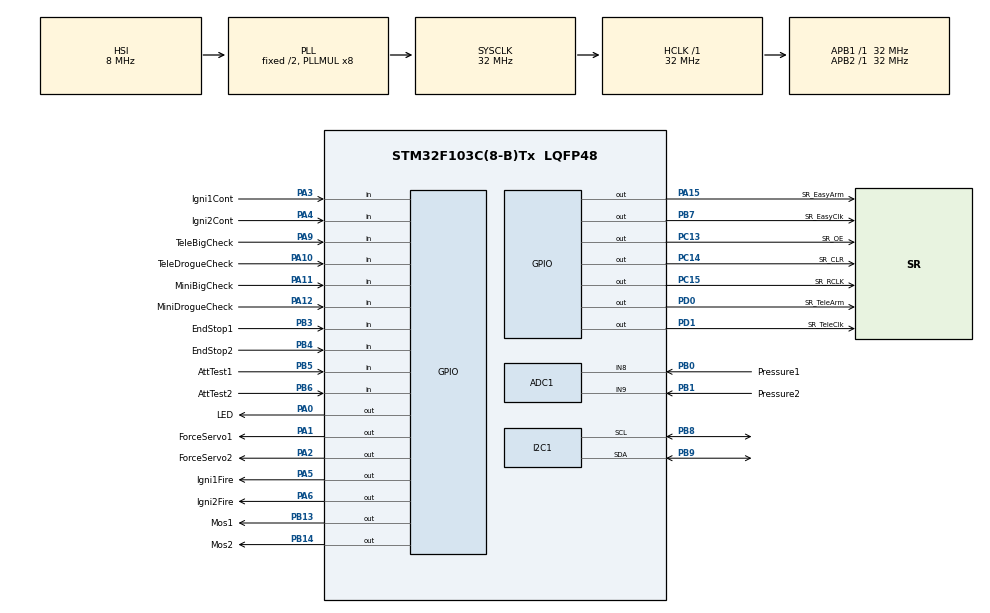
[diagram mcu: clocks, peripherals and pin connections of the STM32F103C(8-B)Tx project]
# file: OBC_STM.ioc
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ADC1.Channel-0\#ChannelRegularConversion=ADC_CHANNEL_8
ADC1.Channel-1\#ChannelRegularConversion=ADC_CHANNEL_9
ADC1.ContinuousConvMode=ENABLE
ADC1.NbrOfConversion=2
ADC1.NbrOfConversionFlag=1
ADC1.Rank-0\#ChannelRegularConversion=1
ADC1.Rank-1\#ChannelRegularConversion=2
ADC1.SamplingTime-0\#ChannelRegularConversion=ADC_SAMPLETIME_239CYCLES_5
ADC1.SamplingTime-1\#ChannelRegularConversion=ADC_SAMPLETIME_239CYCLES_5
ADC1.master=1
Dma.ADC1.0.Direction=DMA_PERIPH_TO_MEMORY
Dma.ADC1.0.Instance=DMA1_Channel1
Dma.ADC1.0.MemDataAlignment=DMA_MDATAALIGN_HALFWORD
Dma.ADC1.0.MemInc=DMA_MINC_ENABLE
Dma.ADC1.0.Mode=DMA_CIRCULAR
Dma.ADC1.0.PeriphDataAlignment=DMA_PDATAALIGN_HALFWORD
Dma.ADC1.0.PeriphInc=DMA_PINC_DISABLE
Dma.ADC1.0.Priority=DMA_PRIORITY_LOW
Dma.Request0=ADC1
I2C1.OwnAddress=48
IWDG.Reload=2500
Mcu.Family=STM32F1
Mcu.Name=STM32F103C(8-B)Tx
Mcu.Package=LQFP48
NVIC.ADC1_2_IRQn=true\:1\:0\:true\:false\:true\:true\:true\:true
NVIC.DMA1_Channel1_IRQn=true\:0\:0\:false\:false\:true\:false\:true\:true
NVIC.I2C1_ER_IRQn=true\:0\:0\:true\:false\:true\:true\:true\:true
NVIC.I2C1_EV_IRQn=true\:0\:0\:true\:false\:true\:true\:true\:true
NVIC.PriorityGroup=NVIC_PRIORITYGROUP_4
PA0-WKUP.GPIO_Label=LED
PA0-WKUP.Signal=GPIO_Output
PA1.GPIO_Label=ForceServo1
PA1.Signal=GPIO_Output
PA10.GPIO_Label=TeleDrogueCheck
PA10.GPIO_PuPd=GPIO_PULLUP
PA10.Signal=GPIO_Input
PA11.GPIO_Label=MiniBigCheck
PA11.GPIO_PuPd=GPIO_NOPULL
PA11.Signal=GPIO_Input
PA12.GPIO_Label=MiniDrogueCheck
PA12.GPIO_PuPd=GPIO_NOPULL
PA12.Signal=GPIO_Input
PA13.Mode=Serial_Wire
PA13.Signal=SYS_JTMS-SWDIO
PA14.Mode=Serial_Wire
PA14.Signal=SYS_JTCK-SWCLK
PA15.GPIO_Label=SR_EasyArm
PA15.Signal=GPIO_Output
PA2.GPIO_Label=ForceServo2
PA2.Signal=GPIO_Output
PA3.GPIO_Label=Igni1Cont
PA3.GPIO_PuPd=GPIO_PULLUP
PA3.Signal=GPIO_Input
PA4.GPIO_Label=Igni2Cont
PA4.GPIO_PuPd=GPIO_PULLUP
PA4.Signal=GPIO_Input
PA5.GPIO_Label=Igni1Fire
PA5.Signal=GPIO_Output
PA6.GPIO_Label=Igni2Fire
PA6.Signal=GPIO_Output
PA9.GPIO_Label=TeleBigCheck
PA9.GPIO_PuPd=GPIO_NOPULL
PA9.Signal=GPIO_Input
PB0.GPIO_Label=Pressure1
PB0.Signal=ADCx_IN8
PB1.GPIO_Label=Pressure2
PB1.Signal=ADCx_IN9
PB13.GPIO_Label=Mos1
PB13.Signal=GPIO_Output
PB14.GPIO_Label=Mos2
PB14.Signal=GPIO_Output
PB3.GPIO_Label=EndStop1
PB3.GPIO_PuPd=GPIO_PULLUP
PB3.Signal=GPIO_Input
PB4.GPIO_Label=EndStop2
PB4.GPIO_PuPd=GPIO_PULLUP
PB4.Signal=GPIO_Input
PB5.GPIO_Label=AttTest1
PB5.Signal=GPIO_Input
PB6.GPIO_Label=AttTest2
PB6.Signal=GPIO_Input
PB7.GPIO_Label=SR_EasyClk
PB7.Signal=GPIO_Output
PB8.Mode=I2C
PB8.Signal=I2C1_SCL
PB9.Mode=I2C
PB9.Signal=I2C1_SDA
PC13-TAMPER-RTC.GPIO_Label=SR_OE
PC13-TAMPER-RTC.Signal=GPIO_Output
PC14-OSC32_IN.GPIO_Label=SR_CLR
PC14-OSC32_IN.Signal=GPIO_Output
PC15-OSC32_OUT.GPIO_Label=SR_RCLK
PC15-OSC32_OUT.Signal=GPIO_Output
PD0-OSC_IN.GPIO_Label=SR_TeleArm
PD0-OSC_IN.Signal=GPIO_Output
PD1-OSC_OUT.GPIO_Label=SR_TeleClk
PD1-OSC_OUT.Signal=GPIO_Output
ProjectManager.HeapSize=0x200
ProjectManager.StackSize=0x400
ProjectManager.TargetToolchain=Makefile
RCC.ADCPresc=RCC_ADCPCLK2_DIV4
RCC.AHBFreq_Value=32000000
RCC.APB1Freq_Value=32000000
RCC.APB1TimFreq_Value=32000000
RCC.APB2Freq_Value=32000000
RCC.APB2TimFreq_Value=32000000
RCC.HCLKFreq_Value=32000000
RCC.PLLMUL=RCC_PLL_MUL8
RCC.SYSCLKFreq_VALUE=32000000
RCC.SYSCLKSource=RCC_SYSCLKSOURCE_PLLCLK
RCC.USBFreq_Value=32000000
SH.ADCx_IN8.0=ADC1_IN8,IN8
SH.ADCx_IN9.0=ADC1_IN9,IN9
VP_IWDG_VS_IWDG.Mode=IWDG_Activate
board=custom

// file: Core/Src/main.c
/* USER CODE BEGIN Header */
/**
  ******************************************************************************
  * @file           : main.c
  * @brief          : Main program body
  ******************************************************************************
  * @attention
  *
  * Copyright (c) 2022 STMicroelectronics.
  * All rights reserved.
  *
  * This software is licensed under terms that can be found in the LICENSE file
  * in the root directory of this software component.
  * If no LICENSE file comes with this software, it is provided AS-IS.
  *
  ******************************************************************************
  */
/* USER CODE END Header */
#include "main.h"
#include "adc.h"
#include "dma.h"
#include "i2c.h"
#include "iwdg.h"
#include "gpio.h"

/* USER CODE BEGIN Includes */

#include "Functions.h"

/* USER CODE END Includes */

void SystemClock_Config(void);

int main(void)
{

  /* MCU Configuration--------------------------------------------------------*/

  /* Reset of all peripherals, Initializes the Flash interface and the Systick. */
  HAL_Init();

  /* Configure the system clock */
  SystemClock_Config();

  /* Initialize all configured peripherals */
  MX_GPIO_Init();
  MX_DMA_Init();
  MX_ADC1_Init();
  MX_I2C1_Init();
  MX_IWDG_Init();
  /* USER CODE BEGIN 2 */

  // Funkcje inicjalizujące:
  HAL_IWDG_Refresh(&hiwdg);
  initAll();

  /* USER CODE END 2 */

  /* Infinite loop */
  /* USER CODE BEGIN WHILE */
  while (1)
  {
    // Watchdog refresh (watchdog set to 300ms):
    HAL_IWDG_Refresh(&hiwdg);

    // Hardware reads:
	  checkParameters();

	  // I2C incomming commands handling:
	  if (dataFromComm.command > 0 && dataFromComm.command < 255) {

		  executeCommand(dataFromComm);
		  dataFromComm.command = 0;
	  }
    //!/TODO delay ? May be, but not have to be.
    /* USER CODE END WHILE */

  }
}

void SystemClock_Config(void)
{
  RCC_OscInitTypeDef RCC_OscInitStruct = {0};
  RCC_ClkInitTypeDef RCC_ClkInitStruct = {0};
  RCC_PeriphCLKInitTypeDef PeriphClkInit = {0};

  /** Initializes the RCC Oscillators according to the specified parameters
  * in the RCC_OscInitTypeDef structure.
  */
  RCC_OscInitStruct.OscillatorType = RCC_OSCILLATORTYPE_HSI|RCC_OSCILLATORTYPE_LSI;
  RCC_OscInitStruct.HSIState = RCC_HSI_ON;
  RCC_OscInitStruct.HSICalibrationValue = RCC_HSICALIBRATION_DEFAULT;
  RCC_OscInitStruct.LSIState = RCC_LSI_ON;
  RCC_OscInitStruct.PLL.PLLState = RCC_PLL_ON;
  RCC_OscInitStruct.PLL.PLLSource = RCC_PLLSOURCE_HSI_DIV2;
  RCC_OscInitStruct.PLL.PLLMUL = RCC_PLL_MUL8;
  if (HAL_RCC_OscConfig(&RCC_OscInitStruct) != HAL_OK)
  {
    Error_Handler();
  }

  /** Initializes the CPU, AHB and APB buses clocks
  */
  RCC_ClkInitStruct.ClockType = RCC_CLOCKTYPE_HCLK|RCC_CLOCKTYPE_SYSCLK
                              |RCC_CLOCKTYPE_PCLK1|RCC_CLOCKTYPE_PCLK2;
  RCC_ClkInitStruct.SYSCLKSource = RCC_SYSCLKSOURCE_PLLCLK;
  RCC_ClkInitStruct.AHBCLKDivider = RCC_SYSCLK_DIV1;
  RCC_ClkInitStruct.APB1CLKDivider = RCC_HCLK_DIV1;
  RCC_ClkInitStruct.APB2CLKDivider = RCC_HCLK_DIV1;

  if (HAL_RCC_ClockConfig(&RCC_ClkInitStruct, FLASH_LATENCY_1) != HAL_OK)
  {
    Error_Handler();
  }
  PeriphClkInit.PeriphClockSelection = RCC_PERIPHCLK_ADC;
  PeriphClkInit.AdcClockSelection = RCC_ADCPCLK2_DIV4;
  if (HAL_RCCEx_PeriphCLKConfig(&PeriphClkInit) != HAL_OK)
  {
    Error_Handler();
  }
}

/* USER CODE BEGIN 4 */

void HAL_I2C_AddrCallback(I2C_HandleTypeDef *hi2c, uint8_t TransferDirection, uint16_t AddrMatchCode) {

	HAL_I2C_DisableListen_IT(hi2c);
	if (!TransferDirection) {
		HAL_I2C_Slave_Transmit(hi2c, (uint8_t*) &recData, sizeof(recData), 10);
	}
	else {
		HAL_I2C_Slave_Receive(hi2c, (uint8_t*) &dataFromComm, sizeof(dataFromComm), 10);
	}
	HAL_I2C_EnableListen_IT(hi2c);
}

/* USER CODE END 4 */

void Error_Handler(void)
{
  __disable_irq();
  while (1)
  {
  }
}
